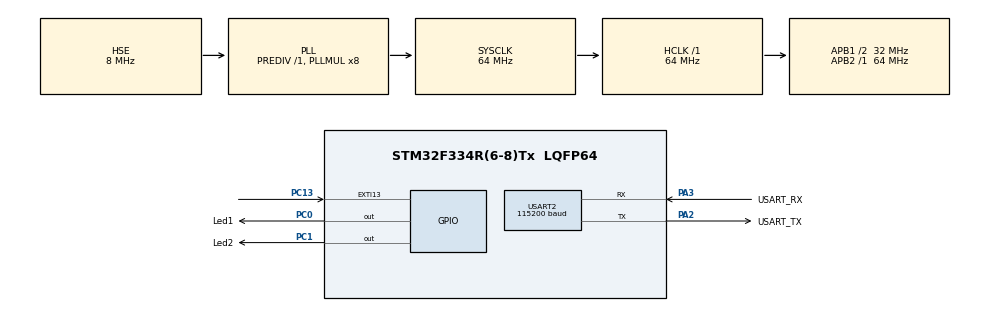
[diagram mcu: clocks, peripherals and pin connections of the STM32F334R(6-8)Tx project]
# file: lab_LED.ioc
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Mcu.Family=STM32F3
Mcu.Name=STM32F334R(6-8)Tx
Mcu.Package=LQFP64
NVIC.EXTI15_10_IRQn=true\:0\:0\:false\:false\:true\:true\:true\:true
NVIC.PriorityGroup=NVIC_PRIORITYGROUP_0
NVIC.TIM1_BRK_TIM15_IRQn=true\:0\:0\:false\:false\:true\:true\:true\:true
NVIC.TIM1_CC_IRQn=true\:0\:0\:false\:false\:true\:true\:true\:true
NVIC.TIM1_TRG_COM_TIM17_IRQn=true\:0\:0\:false\:false\:true\:true\:true\:true
NVIC.TIM1_UP_TIM16_IRQn=true\:0\:0\:false\:false\:true\:true\:true\:true
NVIC.USART2_IRQn=true\:0\:0\:false\:false\:true\:true\:true\:true
PA13.GPIO_Label=TMS
PA13.Mode=Serial_Wire
PA13.Signal=SYS_JTMS-SWDIO
PA14.Mode=Serial_Wire
PA14.Signal=SYS_JTCK-SWCLK
PA2.GPIO_Label=USART_TX
PA2.Mode=Asynchronous
PA2.Signal=USART2_TX
PA3.GPIO_Label=USART_RX
PA3.Mode=Asynchronous
PA3.Signal=USART2_RX
PC0.GPIO_Label=Led1
PC0.Signal=GPIO_Output
PC1.GPIO_Label=Led2
PC1.Signal=GPIO_Output
PC13.GPIO_PuPd=GPIO_PULLDOWN
PC13.Signal=GPXTI13
PC14\ /\ OSC32_IN.Mode=LSE-External-Oscillator
PC14\ /\ OSC32_IN.Signal=RCC_OSC32_IN
PC15\ /\ OSC32_OUT.GPIO_Label=RCC_OSC32_OUT
PC15\ /\ OSC32_OUT.Mode=LSE-External-Oscillator
PC15\ /\ OSC32_OUT.Signal=RCC_OSC32_OUT
PF0\ /\ OSC_IN.Mode=HSE-External-Clock-Source
PF0\ /\ OSC_IN.Signal=RCC_OSC_IN
PF1\ /\ OSC_OUT.Signal=RCC_OSC_OUT
ProjectManager.HeapSize=0x200
ProjectManager.StackSize=0x400
ProjectManager.TargetToolchain=STM32CubeIDE
RCC.AHBFreq_Value=64000000
RCC.APB1CLKDivider=RCC_HCLK_DIV2
RCC.APB1Freq_Value=32000000
RCC.APB1TimFreq_Value=64000000
RCC.APB2Freq_Value=64000000
RCC.APB2TimFreq_Value=64000000
RCC.CortexFreq_Value=64000000
RCC.FLatency-AdvancedSettings=FLASH_LATENCY_2
RCC.HCLKFreq_Value=64000000
RCC.HSE_VALUE=8000000
RCC.HSI_VALUE=8000000
RCC.PLLMUL=RCC_PLL_MUL8
RCC.PLLSourceVirtual=RCC_PLLSOURCE_HSE
RCC.SYSCLKFreq_VALUE=64000000
RCC.SYSCLKSourceVirtual=RCC_SYSCLKSOURCE_PLLCLK
TIM1.Period=1000-1
TIM1.Prescaler=320-1
USART2.BaudRate=115200
USART2.VirtualMode-Asynchronous=VM_ASYNC
VP_TIM1_VS_ClockSourceINT.Mode=Internal
board=NUCLEO-F334R8

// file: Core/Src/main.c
/* USER CODE BEGIN Header */
/**
  ******************************************************************************
  * @file           : main.c
  * @brief          : Main program body
  ******************************************************************************
  * @attention
  *
  * Copyright (c) 2022 STMicroelectronics.
  * All rights reserved.
  *
  * This software is licensed under terms that can be found in the LICENSE file
  * in the root directory of this software component.
  * If no LICENSE file comes with this software, it is provided AS-IS.
  *
  ******************************************************************************
  */
/* USER CODE END Header */
#include "main.h"

/* USER CODE BEGIN Includes */
#include "stdio.h"
#include <string.h>
/* USER CODE END Includes */

/* USER CODE BEGIN PTD */

typedef struct
	{
		unsigned MessageReady 	: 1;
		unsigned BufferOverrun 	: 1;
	}uart_flag_t;

typedef struct
	{
		uint8_t * 	buffer;
		uint16_t 	start;
		uint16_t 	end;
		uint16_t	size;
		uart_flag_t flag;
	} uart_ring_buff_t;//UART з круговим буфером

/* USER CODE END PTD */

/* USER CODE BEGIN PD */
#define R_BUFF_LEN 32
/* USER CODE END PD */

 TIM_HandleTypeDef htim1;

UART_HandleTypeDef huart2;

/* USER CODE BEGIN PV */
 uint8_t btn_state = 0;              //Cтан кнопки
 uint8_t btn_cur  = 0;				//поточне значення кнопки
 uint8_t btn_prev = 0; 				//попереднє значення кнопки

 uint8_t tipe_str = 0;

 uint8_t buff[R_BUFF_LEN];
 uart_ring_buff_t uart_ring;

 uint16_t Delay = 1000;
 uint16_t Frequency = 1;
 float Freq = 1;
 uint8_t rstring[R_BUFF_LEN + 1];//----2
 uint8_t tstring[255];///---2
 //float delay = 1;

//float temprt;
//float voltag;
/* USER CODE END PV */

void SystemClock_Config(void);
static void MX_GPIO_Init(void);
static void MX_USART2_UART_Init(void);
static void MX_TIM1_Init(void);
/* USER CODE BEGIN PFP */
void ring_init(uart_ring_buff_t * uart_ring, uint8_t * buff, uint16_t buff_size);
void ring_clear(uart_ring_buff_t * uart_ring);
void ring_putchar(uart_ring_buff_t * uart_ring, uint8_t ch);
uint8_t ring_getchar(uart_ring_buff_t * uart_ring);
uint8_t ring_get_message(uart_ring_buff_t * uart_ring, uint8_t * string);
/* USER CODE END PFP */

int main(void)
{
  /* USER CODE BEGIN 1 */
	//	uint32_t delayms = 100;
		uint8_t tstring[255];///----2
		//uint8_t rstring[R_BUFF_LEN + 1];//---2
		char string[8];
  /* USER CODE END 1 */

  /* MCU Configuration--------------------------------------------------------*/

  /* Reset of all peripherals, Initializes the Flash interface and the Systick. */
  HAL_Init();

  /* Configure the system clock */
  SystemClock_Config();

  /* Initialize all configured peripherals */
  MX_GPIO_Init();
  MX_USART2_UART_Init();
  MX_TIM1_Init();
  /* USER CODE BEGIN 2 */
  ring_init(&uart_ring, buff, sizeof(buff) / sizeof(buff[0]) ); // Initialize UART receiver ring buffer.
  sprintf((char*)tstring,"UART IT Enter command 'F = ' \r\n");
  HAL_UART_Transmit_IT(&huart2,tstring,strlen((char*)tstring));
  HAL_UART_Receive_IT(&huart2,uart_ring.buffer,1);						 // Start UART receiver in the non blocking mode

  /* USER CODE END 2 */

  /* Infinite loop */
  while (1)
  {

    /* USER CODE BEGIN 3 */
   //btn_cur = HAL_GPIO_ReadPin(GPIOC, GPIO_PIN_13);

  if (ring_get_message(&uart_ring, rstring)){
	  sscanf((char*)rstring,"%4[F = ]" ,string);
	  sscanf((char*)&rstring[strlen(string)],"%f" ,&Freq);

	  if(!strcmp(string,"F = "))
	  {
		  sprintf((char*)tstring,"F = %f \r\n",&Freq);
	  }

	  else
	  {
		  // Transmit (in non blocking mode) back to the UART the last entered line and prompt for the next input
		  sprintf((char*)tstring,"Incorrect command Echo: %s\n" "Enter the correct command 'F = x.x'\r\n",rstring);
	  }

	  HAL_UART_Transmit_IT(&huart2,tstring,strlen((char*)tstring));
  }

  Delay = (float)1000/Freq;//T = 1c/F ; період.

  if(btn_state == 0)
      {
        HAL_GPIO_WritePin(GPIOC, Led1_Pin, 1);//
        HAL_Delay(Delay);
        HAL_GPIO_WritePin(GPIOC, Led1_Pin, 0);
        HAL_GPIO_WritePin(GPIOC, Led2_Pin, 1);
        HAL_Delay(Delay);
        HAL_GPIO_WritePin(GPIOC, Led2_Pin, 0);
      }
      else
      {
        HAL_GPIO_WritePin(GPIOC, Led1_Pin, 1);
        HAL_Delay(Delay);

        HAL_GPIO_WritePin(GPIOC, Led2_Pin, 1);
        HAL_Delay(Delay);

        HAL_GPIO_WritePin(GPIOC, Led1_Pin, 0);
        HAL_Delay(Delay);

        HAL_GPIO_WritePin(GPIOC, Led2_Pin, 0);
        HAL_Delay(Delay);
      }

 // 0.1 Гц - 10 000 мс

 //1 Гц - 1 000 мс

 // 9.9 Гц - 100 мс (99)

}
  /* USER CODE END 3 */
}

void SystemClock_Config(void)
{
  RCC_OscInitTypeDef RCC_OscInitStruct = {0};
  RCC_ClkInitTypeDef RCC_ClkInitStruct = {0};
  RCC_PeriphCLKInitTypeDef PeriphClkInit = {0};

  /** Initializes the RCC Oscillators according to the specified parameters
  * in the RCC_OscInitTypeDef structure.
  */
  RCC_OscInitStruct.OscillatorType = RCC_OSCILLATORTYPE_HSE;
  RCC_OscInitStruct.HSEState = RCC_HSE_BYPASS;
  RCC_OscInitStruct.HSEPredivValue = RCC_HSE_PREDIV_DIV1;
  RCC_OscInitStruct.HSIState = RCC_HSI_ON;
  RCC_OscInitStruct.PLL.PLLState = RCC_PLL_ON;
  RCC_OscInitStruct.PLL.PLLSource = RCC_PLLSOURCE_HSE;
  RCC_OscInitStruct.PLL.PLLMUL = RCC_PLL_MUL8;
  if (HAL_RCC_OscConfig(&RCC_OscInitStruct) != HAL_OK)
  {
    Error_Handler();
  }

  /** Initializes the CPU, AHB and APB buses clocks
  */
  RCC_ClkInitStruct.ClockType = RCC_CLOCKTYPE_HCLK|RCC_CLOCKTYPE_SYSCLK
                              |RCC_CLOCKTYPE_PCLK1|RCC_CLOCKTYPE_PCLK2;
  RCC_ClkInitStruct.SYSCLKSource = RCC_SYSCLKSOURCE_PLLCLK;
  RCC_ClkInitStruct.AHBCLKDivider = RCC_SYSCLK_DIV1;
  RCC_ClkInitStruct.APB1CLKDivider = RCC_HCLK_DIV2;
  RCC_ClkInitStruct.APB2CLKDivider = RCC_HCLK_DIV1;

  if (HAL_RCC_ClockConfig(&RCC_ClkInitStruct, FLASH_LATENCY_2) != HAL_OK)
  {
    Error_Handler();
  }
  PeriphClkInit.PeriphClockSelection = RCC_PERIPHCLK_TIM1;
  PeriphClkInit.Tim1ClockSelection = RCC_TIM1CLK_HCLK;
  if (HAL_RCCEx_PeriphCLKConfig(&PeriphClkInit) != HAL_OK)
  {
    Error_Handler();
  }
}

static void MX_TIM1_Init(void)
{

  TIM_ClockConfigTypeDef sClockSourceConfig = {0};
  TIM_MasterConfigTypeDef sMasterConfig = {0};

  htim1.Instance = TIM1;
  htim1.Init.Prescaler = 320-1;
  htim1.Init.CounterMode = TIM_COUNTERMODE_UP;
  htim1.Init.Period = 1000-1;
  htim1.Init.ClockDivision = TIM_CLOCKDIVISION_DIV1;
  htim1.Init.RepetitionCounter = 0;
  htim1.Init.AutoReloadPreload = TIM_AUTORELOAD_PRELOAD_DISABLE;
  if (HAL_TIM_Base_Init(&htim1) != HAL_OK)
  {
    Error_Handler();
  }
  sClockSourceConfig.ClockSource = TIM_CLOCKSOURCE_INTERNAL;
  if (HAL_TIM_ConfigClockSource(&htim1, &sClockSourceConfig) != HAL_OK)
  {
    Error_Handler();
  }
  sMasterConfig.MasterOutputTrigger = TIM_TRGO_RESET;
  sMasterConfig.MasterOutputTrigger2 = TIM_TRGO2_RESET;
  sMasterConfig.MasterSlaveMode = TIM_MASTERSLAVEMODE_DISABLE;
  if (HAL_TIMEx_MasterConfigSynchronization(&htim1, &sMasterConfig) != HAL_OK)
  {
    Error_Handler();
  }

}

static void MX_USART2_UART_Init(void)
{

  huart2.Instance = USART2;
  huart2.Init.BaudRate = 115200;
  huart2.Init.WordLength = UART_WORDLENGTH_8B;
  huart2.Init.StopBits = UART_STOPBITS_1;
  huart2.Init.Parity = UART_PARITY_NONE;
  huart2.Init.Mode = UART_MODE_TX_RX;
  huart2.Init.HwFlowCtl = UART_HWCONTROL_NONE;
  huart2.Init.OverSampling = UART_OVERSAMPLING_16;
  huart2.Init.OneBitSampling = UART_ONE_BIT_SAMPLE_DISABLE;
  huart2.AdvancedInit.AdvFeatureInit = UART_ADVFEATURE_NO_INIT;
  if (HAL_UART_Init(&huart2) != HAL_OK)
  {
    Error_Handler();
  }

}

static void MX_GPIO_Init(void)
{
  GPIO_InitTypeDef GPIO_InitStruct = {0};

  /* GPIO Ports Clock Enable */
  __HAL_RCC_GPIOC_CLK_ENABLE();
  __HAL_RCC_GPIOF_CLK_ENABLE();
  __HAL_RCC_GPIOA_CLK_ENABLE();

  /*Configure GPIO pin Output Level */
  HAL_GPIO_WritePin(GPIOC, Led1_Pin|Led2_Pin, GPIO_PIN_RESET);

  /*Configure GPIO pin : PC13 */
  GPIO_InitStruct.Pin = GPIO_PIN_13;
  GPIO_InitStruct.Mode = GPIO_MODE_IT_RISING;
  GPIO_InitStruct.Pull = GPIO_PULLDOWN;
  HAL_GPIO_Init(GPIOC, &GPIO_InitStruct);

  /*Configure GPIO pins : Led1_Pin Led2_Pin */
  GPIO_InitStruct.Pin = Led1_Pin|Led2_Pin;
  GPIO_InitStruct.Mode = GPIO_MODE_OUTPUT_PP;
  GPIO_InitStruct.Pull = GPIO_NOPULL;
  GPIO_InitStruct.Speed = GPIO_SPEED_FREQ_LOW;
  HAL_GPIO_Init(GPIOC, &GPIO_InitStruct);

  /* EXTI interrupt init*/
  HAL_NVIC_SetPriority(EXTI15_10_IRQn, 0, 0);
  HAL_NVIC_EnableIRQ(EXTI15_10_IRQn);

}

/* USER CODE BEGIN 4 */
void HAL_GPIO_EXTI_Callback(uint16_t GPIO_Pin)
{
	if(GPIO_Pin == GPIO_PIN_13)
	{
		HAL_NVIC_DisableIRQ(EXTI15_10_IRQn); // сразу же отключаем прерывания на этом пине
		// либо выполняем какое-то действие прямо тут, либо поднимаем флажок
		HAL_TIM_Base_Start_IT(&htim1); // запускаем таймер
	}
}

void HAL_TIM_PeriodElapsedCallback(TIM_HandleTypeDef *htim)
{

	if(htim->Instance == TIM1)
	{
		HAL_TIM_Base_Stop_IT(&htim1); // останавливаем таймер
		__HAL_GPIO_EXTI_CLEAR_IT(GPIO_PIN_13);  // очищаем бит EXTI_PR (бит прерывания)
		NVIC_ClearPendingIRQ(EXTI15_10_IRQn); // очищаем бит NVIC_ICPRx (бит очереди)
		HAL_NVIC_EnableIRQ(EXTI15_10_IRQn);   // включаем внешнее прерывание
		//btn_cur = HAL_GPIO_ReadPin(GPIOC, GPIO_PIN_13);

		if(HAL_GPIO_ReadPin(GPIOC, GPIO_PIN_13) == 1)
		{
			if(btn_state == 0)
			{
				btn_state = 1;
			}
			else btn_state = 0;
		}
		/*if((btn_prev == 0) && (btn_cur != 0))
		{
		}*/
	}
}
//////////////////////////////////////////////////////////UART_IT////////////////////////////////////////////////////////////////
// UART receive interrupt callback function
void HAL_UART_RxCpltCallback(UART_HandleTypeDef *huart)
{
	// Check that interrupt caused by UART1
	if (huart == &huart2)
		{
			// Put new character from the UART receiver data register (RDR) to the ring buffer
			ring_putchar(&uart_ring,huart->Instance->RDR);              //питання RDR чи DR?
			// Set the overrun flag if the message is longer than ring buffer can hold
			if (uart_ring.end == uart_ring.start) uart_ring.flag.BufferOverrun = 1;
			// Set the message ready flag if the end of line character has been received
			if ((uart_ring.buffer[uart_ring.end -1] == '\r') ||
					(uart_ring.buffer[uart_ring.end -1] == '\n'))
				uart_ring.flag.MessageReady = 1;
			// Receive the next character from UART in non blocking mode
			HAL_UART_Receive_IT(&huart2,&uart_ring.buffer[uart_ring.end],1);
		}
}
// Initializes the ring buffer
void ring_init(uart_ring_buff_t * uart_ring, uint8_t * buff, uint16_t buff_size)
{
	uart_ring->buffer = buff;
	uart_ring->size = buff_size;
	ring_clear(uart_ring);
}
// Clears the ring buffer
void ring_clear(uart_ring_buff_t * uart_ring)
{
	uart_ring->start = 0;
	uart_ring->end = 0;
	uart_ring->flag.BufferOverrun = 0;
	uart_ring->flag.MessageReady = 0;
}
// Puts a new character to the ring buffer
void ring_putchar(uart_ring_buff_t * uart_ring, uint8_t ch)
{
	uart_ring->buffer[uart_ring->end++] = ch;
	if (uart_ring->end >= uart_ring->size) uart_ring->end = 0;
}
// Gets one character from the ring buffer
uint8_t ring_getchar(uart_ring_buff_t * uart_ring)
{
	uint8_t ch = uart_ring->buffer[uart_ring->start++];
	if (uart_ring->start >= uart_ring->size) uart_ring->start = 0;
	return ch;
}
// Reads full message from the ring buffer and clears appropriate flags
uint8_t ring_get_message(uart_ring_buff_t * uart_ring, uint8_t * string)
{
	uint16_t char_count = 0;
	// Check if the message has been received
	if (uart_ring->flag.MessageReady)
		{
			if (uart_ring->flag.BufferOverrun)
				{
					uart_ring->start = uart_ring->end;
					uart_ring->flag.BufferOverrun = 0;
				}
			while ((uart_ring->buffer[uart_ring->start] != '\r') &&
						 (uart_ring->buffer[uart_ring->start] != '\n') &&
						 (uart_ring->size != char_count - 1))
				{
					*string =  ring_getchar(uart_ring);
					string++;
					char_count++;
				}
			*string =  ring_getchar(uart_ring);
			string++;
			char_count++;
			*string = '\0';
			uart_ring->flag.MessageReady = 0;
		}
	return char_count;
}

/* USER CODE END 4 */

void Error_Handler(void)
{
  __disable_irq();
  while (1)
  {
  }
}
